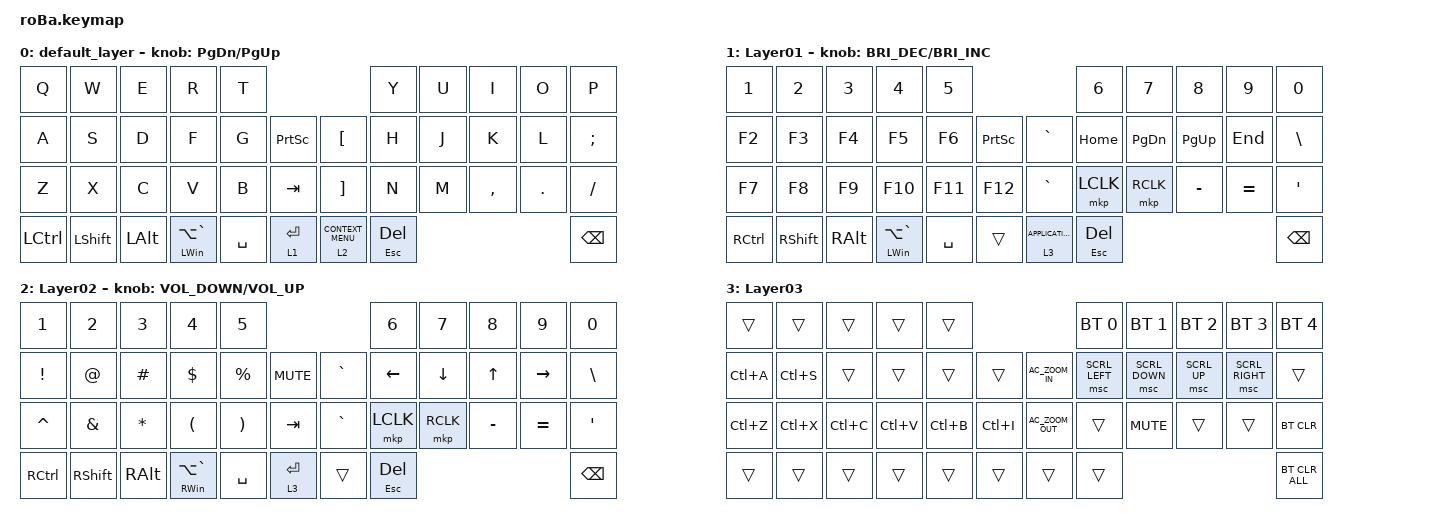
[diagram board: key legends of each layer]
#include <behaviors.dtsi>
#include <dt-bindings/zmk/bt.h>
#include <dt-bindings/zmk/keys.h>
#include <dt-bindings/zmk/pointing.h>

&mt {
    flavor = "balanced";
    quick-tap-ms = <0>;
};

/ {
    combos {
        compatible = "zmk,combos";

        Windows {
            bindings = <&kp LEFT_WIN>;
            key-positions = <27 38>;
            layers = <0 1 2 3>;
        };

        Delete {
            bindings = <&kp DELETE>;
            key-positions = <42 35>;
            layers = <0 1 2 3>;
        };
    };

    keymap {
        compatible = "zmk,keymap";

        default_layer {
            bindings = <
&kp Q             &kp W           &kp E         &kp R                   &kp T                                                 &kp Y              &kp U  &kp I      &kp O    &kp P
&kp A             &kp S           &kp D         &kp F                   &kp G      &kp PRINTSCREEN      &kp LEFT_BRACKET      &kp H              &kp J  &kp K      &kp L    &kp SEMICOLON
&kp Z             &kp X           &kp C         &kp V                   &kp B      &kp TAB              &kp RIGHT_BRACKET     &kp N              &kp M  &kp COMMA  &kp DOT  &kp SLASH
&kp LEFT_CONTROL  &kp LEFT_SHIFT  &kp LEFT_ALT  &mt LEFT_WIN LA(GRAVE)  &kp SPACE  &lt 1 ENTER          &lt 2 K_CONTEXT_MENU  &mt ESCAPE DELETE                             &kp BACKSPACE
            >;

            sensor-bindings = <&inc_dec_kp PAGE_DOWN PAGE_UP>;
        };

        Layer01 {
            bindings = <
&kp NUMBER_1       &kp NUMBER_2     &kp NUMBER_3   &kp NUMBER_4            &kp N5                                               &kp NUMBER_6       &kp N7         &kp N8       &kp N9     &kp N0
&kp F2             &kp F3           &kp F4         &kp F5                  &kp F6     &kp PRINTSCREEN      &kp GRAVE            &kp HOME           &kp PAGE_DOWN  &kp PAGE_UP  &kp END    &kp BACKSLASH
&kp F7             &kp F8           &kp F9         &kp F10                 &kp F11    &kp F12              &kp GRAVE            &mkp LCLK          &mkp RCLK      &kp MINUS    &kp EQUAL  &kp SQT
&kp RIGHT_CONTROL  &kp RIGHT_SHIFT  &kp RIGHT_ALT  &mt LEFT_WIN LA(GRAVE)  &kp SPACE  &trans               &lt 3 K_APPLICATION  &mt ESCAPE DELETE                                         &kp BACKSPACE
            >;

            sensor-bindings = <&inc_dec_kp C_BRIGHTNESS_DEC C_BRIGHTNESS_INC>;
        };

        Layer02 {
            bindings = <
&kp NUMBER_1       &kp NUMBER_2     &kp NUMBER_3   &kp NUMBER_4             &kp N5                                             &kp NUMBER_6       &kp N7          &kp N8        &kp N9           &kp N0
&kp EXCLAMATION    &kp AT_SIGN      &kp HASH       &kp DOLLAR               &kp PERCENT            &kp K_MUTE       &kp GRAVE  &kp LEFT_ARROW     &kp DOWN_ARROW  &kp UP_ARROW  &kp RIGHT_ARROW  &kp BACKSLASH
&kp CARET          &kp AMPERSAND    &kp ASTERISK   &kp LEFT_PARENTHESIS     &kp RIGHT_PARENTHESIS  &kp TAB          &kp GRAVE  &mkp LCLK          &mkp RCLK       &kp MINUS     &kp EQUAL        &kp SQT
&kp RIGHT_CONTROL  &kp RIGHT_SHIFT  &kp RIGHT_ALT  &mt RIGHT_WIN LA(GRAVE)  &kp SPACE              &lt 3 ENTER      &trans     &mt ESCAPE DELETE                                                 &kp BACKSPACE
            >;

            sensor-bindings = <&inc_dec_kp C_VOLUME_DOWN C_VOLUME_UP>;
        };

        Layer03 {
            bindings = <
&trans     &trans     &trans     &trans     &trans                                       &bt BT_SEL 0    &bt BT_SEL 1    &bt BT_SEL 2  &bt BT_SEL 3     &bt BT_SEL 4
&kp LC(A)  &kp LC(S)  &trans     &trans     &trans     &trans         &kp C_AC_ZOOM_IN   &msc SCRL_LEFT  &msc SCRL_DOWN  &msc SCRL_UP  &msc SCRL_RIGHT  &trans
&kp LC(Z)  &kp LC(X)  &kp LC(C)  &kp LC(V)  &kp LC(B)  &kp LC(I)      &kp C_AC_ZOOM_OUT  &trans          &kp K_MUTE      &trans        &trans           &bt BT_CLR
&trans     &trans     &trans     &trans     &trans     &trans         &trans             &trans                                                         &bt BT_CLR_ALL
            >;
        };
    };
};
